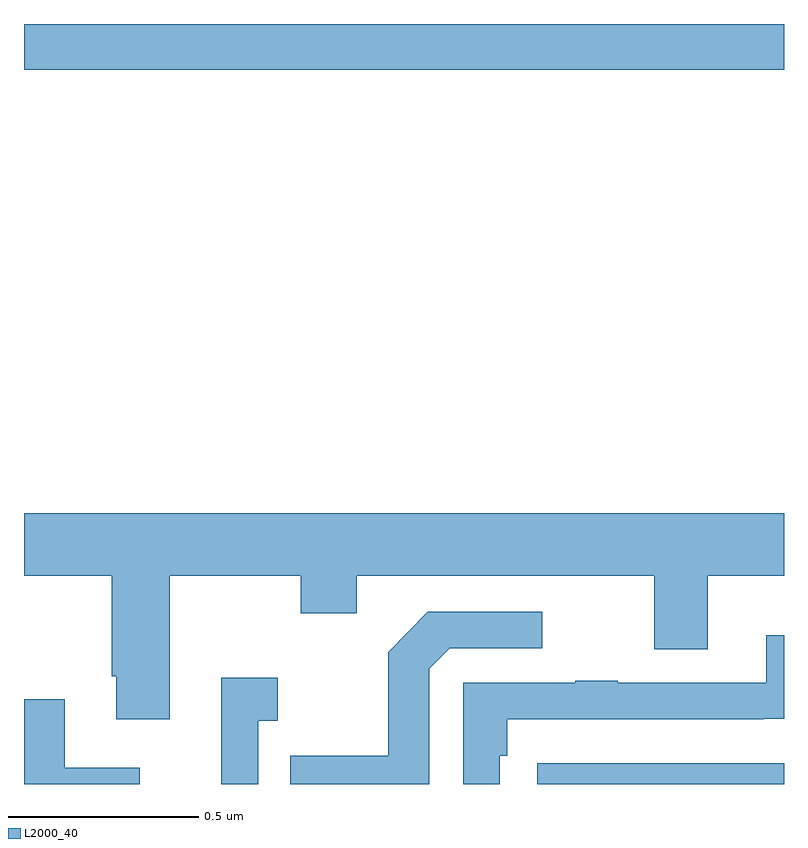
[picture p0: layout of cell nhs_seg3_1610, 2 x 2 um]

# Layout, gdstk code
import gdstk
lib = gdstk.Library(unit=1e-6, precision=1e-09)
def R(c, l, rs):  # rectangles x0, y0, x1, y1
    for r in rs: c.add(gdstk.rectangle(r[:2], r[2:], *l))
def P(c, l, *ps):  # polygons
    for p in ps: c.add(gdstk.Polygon(p, *l))
L2000_40 = (2000, 40)

nhs_seg3_1610 = lib.new_cell('nhs_seg3_1610')
R(nhs_seg3_1610, L2000_40, [(132.351,668.4,133,668.454), (131,670.28,133,670.4)])
P(nhs_seg3_1610, L2000_40, [(131.383,668.948),(131.728,668.948),(131.728,668.849),(131.875,668.849),(131.875,668.948),(132.659,668.948),(132.659,668.754),(132.799,668.754),(132.799,668.948),(133,668.948),(133,669.112),(131,669.112),(131,668.948),(131.231,668.948),(131.231,668.683),(131.243,668.683),(131.243,668.571),(131.383,668.571)],
  [(132.066,668.703),(132.12,668.757),(132.364,668.757),(132.364,668.853),(132.063,668.853),(131.958,668.747),(131.958,668.475),(131.701,668.475),(131.701,668.4),(132.066,668.4)],
  [(132.252,668.474),(132.272,668.474),(132.272,668.571),(132.947,668.571),(132.947,668.572),(133,668.572),(133,668.791),(132.953,668.791),(132.953,668.667),(132.563,668.667),(132.563,668.672),(132.451,668.672),(132.451,668.667),(132.156,668.667),(132.156,668.4),(132.252,668.4)],
  [(131.616,668.567),(131.668,668.567),(131.668,668.68),(131.519,668.68),(131.519,668.4),(131.616,668.4)],
  [(131.305,668.443),(131.107,668.443),(131.107,668.623),(131,668.623),(131,668.4),(131.305,668.4)])

lib.write_gds('nhs_seg3_1610.gds')
